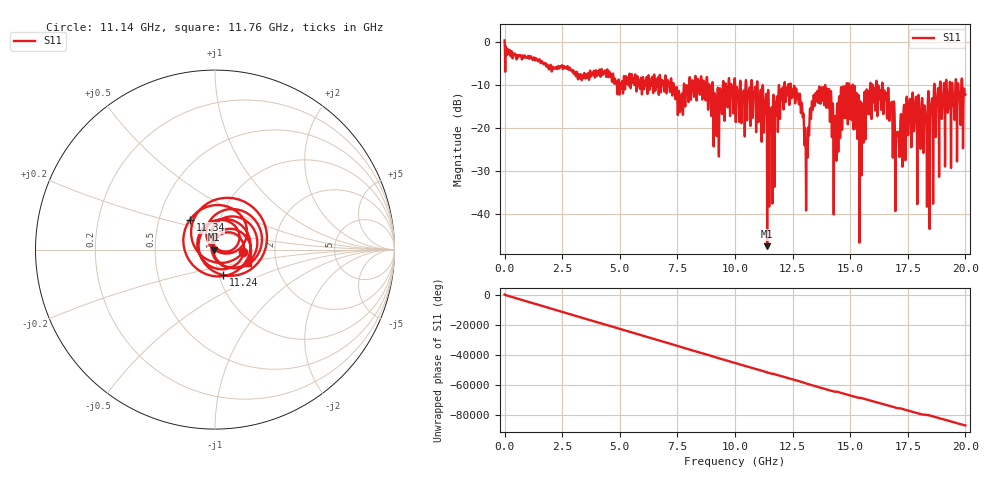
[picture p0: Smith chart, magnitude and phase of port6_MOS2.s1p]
! MS46122B
! 2250307/22442219
! 7/26/2025 10:26:54 AM
! C:\USERS\SPARKY\DOCUMENTS\VNA_DATA\JULY26_2025\295K\PORT6_MOS2.S1P
! CHANNEL.1
! TR.MEASUREMENT
! RAW.DATA
# GHZ S RI R 50.0
! FREQ.GHZ  S11RE  S11IM
!; PortSelection: Port_1
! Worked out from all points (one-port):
!   10001 points, 1 MHz to 20 GHz, reference 50 ohm
!   lowest |S11| = -47.5 dB at 11.4 GHz (marker M1), VSWR 1.01, Z = 49.6 + j0.0356 ohm
!   |S11| at or under -10 dB: 12.42 GHz to 13.91 GHz (1.493 GHz wide, 11.3 % of centre); 13.92 GHz to 14.85 GHz (929.9 MHz wide, 6.47 % of centre); 16.41 GHz to 18.64 GHz (2.238 GHz wide, 12.8 % of centre) (the widest 3 of 67)
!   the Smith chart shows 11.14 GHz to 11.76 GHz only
!   S11 on the Smith chart (normalised r, x): 11.14 GHz: 1.37, -0.04; 11.24 GHz: 1.05, -0.30; 11.34 GHz: 0.72, +0.25; 11.76 GHz: 1.44, -0.22
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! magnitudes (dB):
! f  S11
! 1 MHz  0.4
! 2.501 GHz  -5.6
! 5.001 GHz  -11.5
! 7.501 GHz  -13.9
! 8.595 GHz  -12.4
! 9.231 GHz  -12.9
! 10 GHz  -9.2
! 11.14 GHz  -16.0
! 11.24 GHz  -16.6
! 11.34 GHz  -13.3
! 11.4 GHz  -47.5
! 11.76 GHz  -14.0
! 12.5 GHz  -11.3
! 12.88 GHz  -14.6
! 13.1 GHz  -29.0
! 13.33 GHz  -13.8
! 13.58 GHz  -11.4
! 14.08 GHz  -11.0
! 14.31 GHz  -18.6
! 15 GHz  -13.1
! 15.49 GHz  -24.4
! 15.8 GHz  -11.4
! 16.47 GHz  -12.0
! 17.05 GHz  -20.9
! 17.5 GHz  -19.2
! 18.26 GHz  -16.8
! 18.73 GHz  -16.3
! 20 GHz  -12.2
